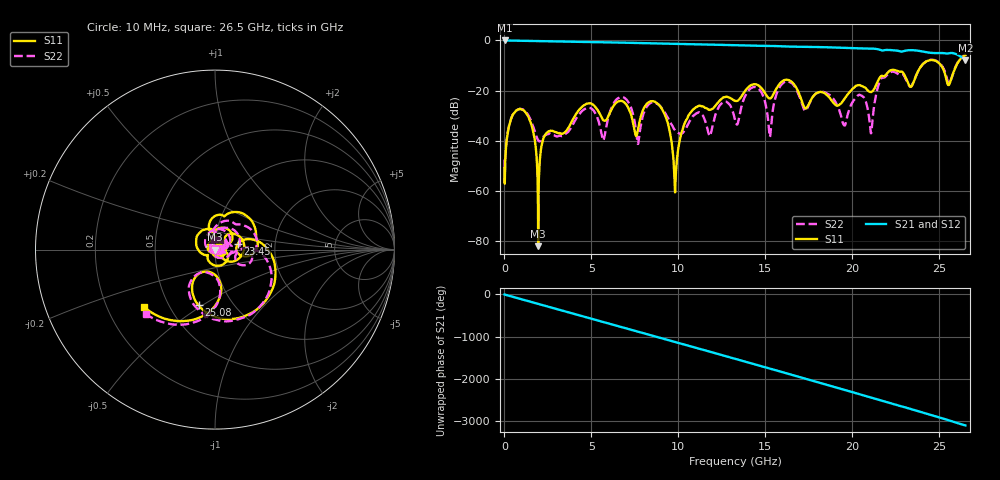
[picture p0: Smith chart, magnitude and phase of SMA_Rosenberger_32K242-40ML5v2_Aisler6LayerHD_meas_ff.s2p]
!Keysight Technologies,N5242B,MY48220591,A.15.75.19
!Date: Tuesday, May 30, 2023 17:30:02
!Correction: S11(C  2-Port  )
!S21(C  2-Port  )
!S12(C  2-Port  )
!S22(C  2-Port  )
!S2P File: Measurements: S11, S21, S12, S22:
! Measurment of connector- through line
# Hz S  RI  R 50
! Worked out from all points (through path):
!   2650 points, 10 MHz to 26.5 GHz, reference 50 ohm
!   highest |S21| = 0.00 dB at 20 MHz (marker M1); lowest = -7.9 dB at 26.5 GHz (marker M2)
!   group delay of S21, straight-line fit = 323 ps
!   lowest |S11| = -82.1 dB at 1.94 GHz (marker M3), VSWR 1.00, Z = 50 - j0.00144 ohm
!   |S11| at or under -10 dB: start of sweep to 23.98 GHz; 25.1 GHz to 25.98 GHz (874 MHz wide, 3.42 % of centre)
!   |S22| runs from -52.4 to -5.6 dB; largest |S21 - S12| = 0.0016
!   S11 on the Smith chart (normalised r, x): 10 MHz: 1.00, +0.01; 23.45 GHz: 1.28, +0.08; 25.08 GHz: 0.69, -0.48; 26.5 GHz: 0.36, -0.31
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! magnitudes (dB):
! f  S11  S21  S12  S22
! 10 MHz  -51.0  0.0  0.0  -47.5
! 20 MHz  -57.2  0.0  0.0  -52.2
! 1 GHz  -27.6  -0.2  -0.2  -27.4
! 1.94 GHz  -82.1  -0.3  -0.3  -39.8
! 2.37 GHz  -37.4  -0.3  -0.3  -37.6
! 4.43 GHz  -26.7  -0.6  -0.6  -28.4
! 5.69 GHz  -31.9  -0.7  -0.7  -39.9
! 6.85 GHz  -24.5  -0.9  -0.9  -22.7
! 7.68 GHz  -35.5  -1.0  -1.0  -41.3
! 8.84 GHz  -25.4  -1.2  -1.2  -25.5
! 9.82 GHz  -59.3  -1.4  -1.4  -35.9
! 10.77 GHz  -28.1  -1.5  -1.5  -30.9
! 13.26 GHz  -24.1  -1.9  -1.9  -31.8
! 14.3 GHz  -17.5  -2.1  -2.1  -18.6
! 15.25 GHz  -23.2  -2.2  -2.2  -38.5
! 16.07 GHz  -15.9  -2.4  -2.4  -16.7
! 17.67 GHz  -23.1  -2.6  -2.6  -23.2
! 21.07 GHz  -20.6  -3.2  -3.2  -37.0
! 22.09 GHz  -12.4  -3.8  -3.8  -13.1
! 23.45 GHz  -17.8  -3.9  -3.9  -17.5
! 25.08 GHz  -9.8  -5.0  -5.0  -9.5
! 26.5 GHz  -5.9  -7.9  -7.9  -5.6
